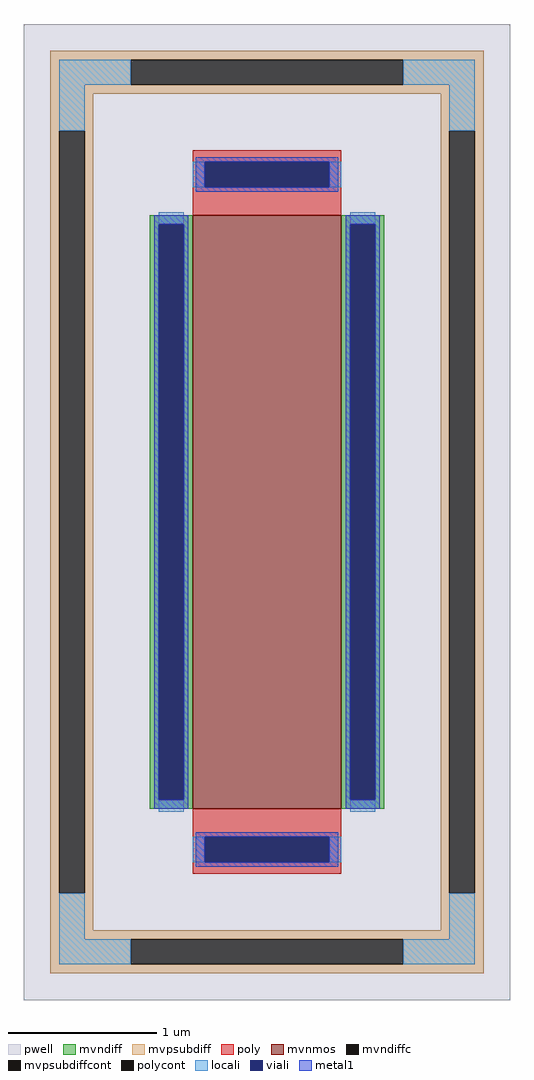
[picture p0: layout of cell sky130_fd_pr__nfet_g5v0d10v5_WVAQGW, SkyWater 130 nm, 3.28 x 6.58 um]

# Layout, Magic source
magic
tech sky130A
<< pwell >>
rect -164 -329 164 329
<< mvnmos >>
rect -50 -200 50 200
<< mvndiff >>
rect -79 194 -50 200
rect -79 -194 -73 194
rect -56 -194 -50 194
rect -79 -200 -50 -194
rect 50 194 79 200
rect 50 -194 56 194
rect 73 -194 79 194
rect 50 -200 79 -194
<< mvndiffc >>
rect -73 -194 -56 194
rect 56 -194 73 194
<< mvpsubdiff >>
rect -146 305 146 311
rect -146 288 -92 305
rect 92 288 146 305
rect -146 282 146 288
rect -146 257 -117 282
rect -146 -257 -140 257
rect -123 -257 -117 257
rect 117 257 146 282
rect -146 -282 -117 -257
rect 117 -257 123 257
rect 140 -257 146 257
rect 117 -282 146 -257
rect -146 -288 146 -282
rect -146 -305 -92 -288
rect 92 -305 146 -288
rect -146 -311 146 -305
<< mvpsubdiffcont >>
rect -92 288 92 305
rect -140 -257 -123 257
rect 123 -257 140 257
rect -92 -305 92 -288
<< poly >>
rect -50 236 50 244
rect -50 219 -42 236
rect 42 219 50 236
rect -50 200 50 219
rect -50 -219 50 -200
rect -50 -236 -42 -219
rect 42 -236 50 -219
rect -50 -244 50 -236
<< polycont >>
rect -42 219 42 236
rect -42 -236 42 -219
<< locali >>
rect -140 288 -92 305
rect 92 288 140 305
rect -140 257 -123 288
rect 123 257 140 288
rect -50 219 -42 236
rect 42 219 50 236
rect -73 194 -56 202
rect -73 -202 -56 -194
rect 56 194 73 202
rect 56 -202 73 -194
rect -50 -236 -42 -219
rect 42 -236 50 -219
rect -140 -288 -123 -257
rect 123 -288 140 -257
rect -140 -305 -92 -288
rect 92 -305 140 -288
<< viali >>
rect -42 219 42 236
rect -73 -194 -56 194
rect 56 -194 73 194
rect -42 -236 42 -219
<< metal1 >>
rect -48 236 48 239
rect -48 219 -42 236
rect 42 219 48 236
rect -48 216 48 219
rect -76 194 -53 200
rect -76 -194 -73 194
rect -56 -194 -53 194
rect -76 -200 -53 -194
rect 53 194 76 200
rect 53 -194 56 194
rect 73 -194 76 194
rect 53 -200 76 -194
rect -48 -219 48 -216
rect -48 -236 -42 -219
rect 42 -236 48 -219
rect -48 -239 48 -236
<< properties >>
string FIXED_BBOX -131 -296 131 296
string gencell sky130_fd_pr__nfet_g5v0d10v5
string library sky130
string parameters w 4.0 l 1.0 m 1 nf 1 diffcov 100 polycov 100 guard 1 glc 1 grc 1 gtc 1 gbc 1 tbcov 100 rlcov 100 topc 1 botc 1 poverlap 0 doverlap 1 lmin 0.50 wmin 0.42 compatible {sky130_fd_pr__nfet_01v8 sky130_fd_pr__nfet_01v8_lvt  sky130_fd_bs_flash__special_sonosfet_star  sky130_fd_pr__nfet_g5v0d10v5 sky130_fd_pr__nfet_05v0_nvt  sky130_fd_pr__nfet_03v3_nvt} full_metal 1 viasrc 100 viadrn 100 viagate 100 viagb 0 viagr 0 viagl 0 viagt 0
<< end >>
